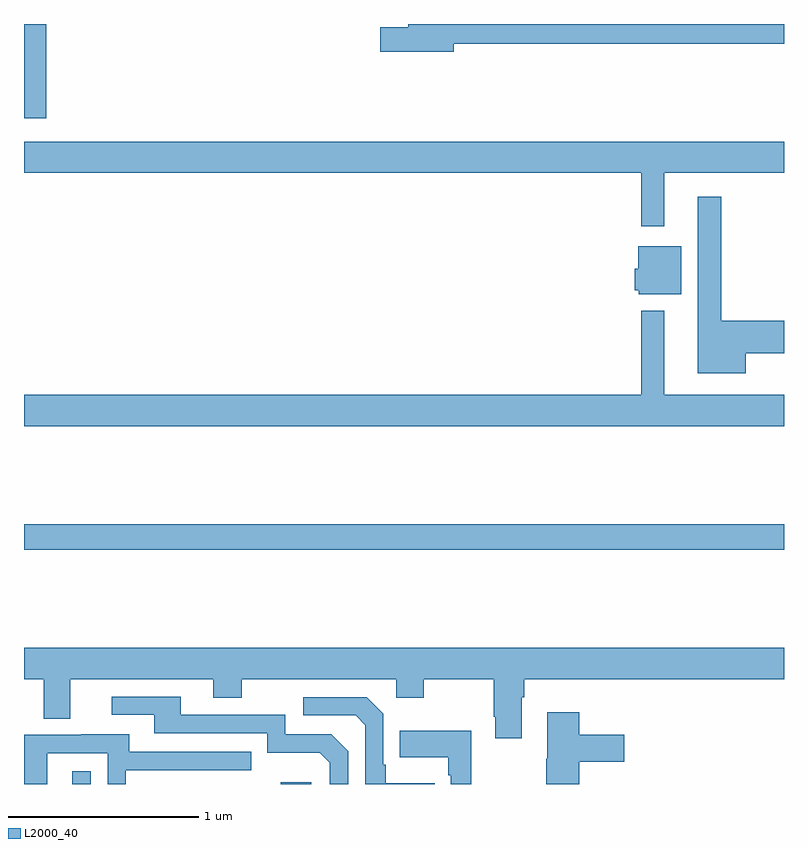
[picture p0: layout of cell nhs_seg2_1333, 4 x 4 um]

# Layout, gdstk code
import gdstk
lib = gdstk.Library(unit=1e-6, precision=1e-09)
def R(c, l, rs):  # rectangles x0, y0, x1, y1
    for r in rs: c.add(gdstk.rectangle(r[:2], r[2:], *l))
def P(c, l, *ps):  # polygons
    for p in ps: c.add(gdstk.Polygon(p, *l))
L2000_40 = (2000, 40)

nhs_seg2_1333 = lib.new_cell('nhs_seg2_1333')
R(nhs_seg2_1333, L2000_40, [(181.253,597.8,181.35,597.868), (182.351,597.8,182.512,597.808), (181,599.032,185,599.168), (181,601.305,181.117,601.8)])
P(nhs_seg2_1333, L2000_40, [(183.262,601.696),(185,601.696),(185,601.8),(183.023,601.8),(183.023,601.783),(182.874,601.783),(182.874,601.654),(183.262,601.654)],
  [(184.369,601.016),(185,601.016),(185,601.18),(181,601.18),(181,601.016),(184.248,601.016),(184.248,600.735),(184.369,600.735)],
  [(184.798,600.068),(185,600.068),(185,600.239),(184.669,600.239),(184.669,600.892),(184.547,600.892),(184.547,599.963),(184.798,599.963)],
  [(184.459,600.631),(184.232,600.631),(184.232,600.513),(184.214,600.513),(184.214,600.399),(184.236,600.399),(184.236,600.377),(184.459,600.377)],
  [(185,599.848),(184.369,599.848),(184.369,600.292),(184.248,600.292),(184.248,599.848),(181,599.848),(181,599.684),(185,599.684)],
  [(183.619,598.256),(183.632,598.256),(183.632,598.352),(185,598.352),(185,598.516),(181,598.516),(181,598.352),(181.103,598.352),(181.103,598.144),(181.243,598.144),(181.243,598.352),(181.997,598.352),(181.997,598.253),(182.145,598.253),(182.145,598.352),(182.958,598.352),(182.958,598.253),(183.105,598.253),(183.105,598.352),(183.472,598.352),(183.472,598.153),(183.479,598.153),(183.479,598.041),(183.619,598.041)],
  [(182.706,597.972),(182.616,598.062),(182.376,598.062),(182.376,598.164),(181.825,598.164),(181.825,598.26),(181.461,598.26),(181.461,598.164),(181.685,598.164),(181.685,598.068),(182.28,598.068),(182.28,597.965),(182.557,597.965),(182.61,597.912),(182.61,597.8),(182.706,597.8)],
  [(183.161,597.805),(182.905,597.805),(182.905,597.901),(182.892,597.901),(182.892,598.17),(182.805,598.257),(182.469,598.257),(182.469,598.161),(182.745,598.161),(182.796,598.11),(182.796,597.8),(183.161,597.8)],
  [(183.923,597.917),(184.159,597.917),(184.159,598.059),(183.923,598.059),(183.923,598.177),(183.755,598.177),(183.755,597.933),(183.748,597.933),(183.748,597.8),(183.923,597.8)],
  [(183.355,598.081),(182.977,598.081),(182.977,597.941),(183.234,597.941),(183.234,597.845),(183.246,597.845),(183.246,597.8),(183.355,597.8)],
  [(181.122,597.963),(181.44,597.963),(181.44,597.8),(181.536,597.8),(181.536,597.873),(182.195,597.873),(182.195,597.969),(181.555,597.969),(181.555,598.063),(181.301,598.063),(181.301,598.059),(181,598.059),(181,597.8),(181.122,597.8)])

lib.write_gds('nhs_seg2_1333.gds')
